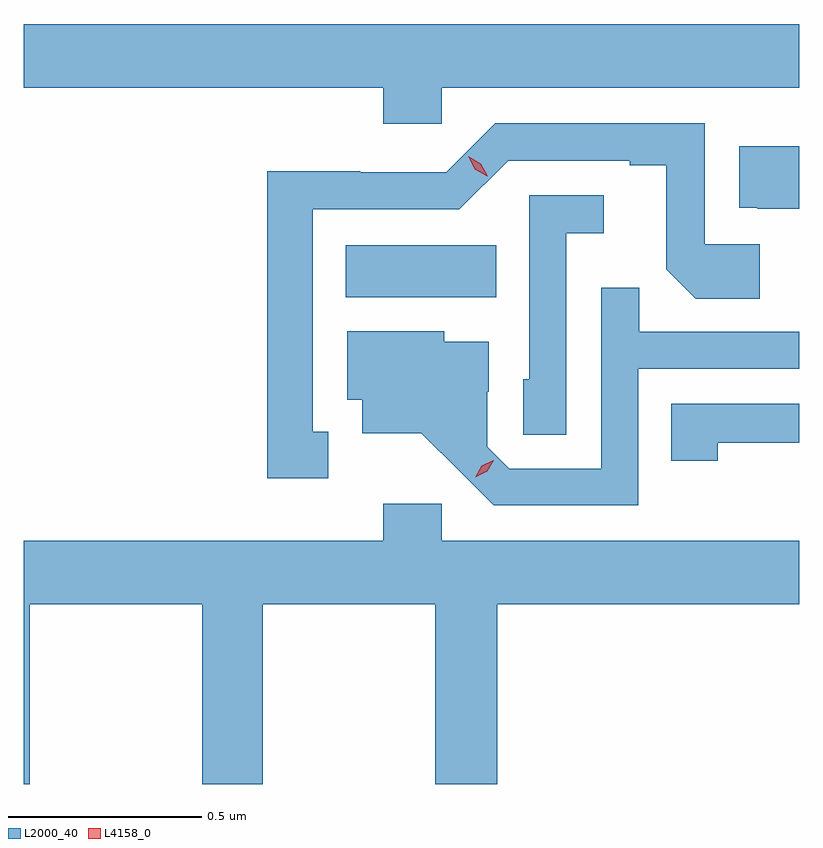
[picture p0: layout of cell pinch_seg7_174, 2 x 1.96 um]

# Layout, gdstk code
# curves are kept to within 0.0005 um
import gdstk
lib = gdstk.Library(unit=1e-6, precision=1e-09)
def R(c, l, rs):  # rectangles x0, y0, x1, y1
    for r in rs: c.add(gdstk.rectangle(r[:2], r[2:], *l))
def P(c, l, *ps):  # polygons
    for p in ps: c.add(gdstk.Polygon(p, *l))
L2000_40 = (2000, 40)
L4158_0 = (4158, 0)

pinch_seg7_174 = lib.new_cell('pinch_seg7_174')
R(pinch_seg7_174, L2000_40, [(1046.681,1034.708,1047.068,1034.842)])
P(pinch_seg7_174, L2000_40, [(1046.928,1035.248),(1047.85,1035.248),(1047.85,1035.412),(1045.85,1035.412),(1045.85,1035.248),(1046.777,1035.248),(1046.777,1035.155),(1046.928,1035.155)],
  [(1046.635,1034.361),(1046.596,1034.361),(1046.596,1034.934),(1046.973,1034.934),(1047.099,1035.06),(1047.413,1035.06),(1047.413,1035.048),(1047.507,1035.048),(1047.507,1034.78),(1047.583,1034.704),(1047.748,1034.704),(1047.748,1034.844),(1047.606,1034.844),(1047.606,1035.156),(1047.066,1035.156),(1046.94,1035.03),(1046.718,1035.03),(1046.718,1035.032),(1046.478,1035.032),(1046.478,1034.241),(1046.635,1034.241)],
  [(1047.85,1035.097),(1047.695,1035.097),(1047.695,1034.939),(1047.739,1034.939),(1047.742,1034.936),(1047.85,1034.936)],
  [(1047.249,1034.873),(1047.346,1034.873),(1047.346,1034.97),(1047.153,1034.97),(1047.153,1034.496),(1047.138,1034.496),(1047.138,1034.353),(1047.249,1034.353)],
  [(1047.435,1034.523),(1047.85,1034.523),(1047.85,1034.619),(1047.437,1034.619),(1047.437,1034.732),(1047.339,1034.732),(1047.339,1034.265),(1047.102,1034.265),(1047.045,1034.322),(1047.045,1034.464),(1047.049,1034.464),(1047.049,1034.593),(1046.934,1034.593),(1046.934,1034.62),(1046.684,1034.62),(1046.684,1034.444),(1046.723,1034.444),(1046.723,1034.357),(1046.875,1034.357),(1047.062,1034.172),(1047.435,1034.172)],
  [(1047.639,1034.332),(1047.85,1034.332),(1047.85,1034.433),(1047.52,1034.433),(1047.52,1034.286),(1047.639,1034.286)],
  [(1045.866,1033.916),(1046.311,1033.916),(1046.311,1033.453),(1046.466,1033.453),(1046.466,1033.916),(1046.911,1033.916),(1046.911,1033.453),(1047.071,1033.453),(1047.071,1033.916),(1047.85,1033.916),(1047.85,1034.08),(1046.928,1034.08),(1046.928,1034.176),(1046.777,1034.176),(1046.777,1034.08),(1045.85,1034.08),(1045.85,1033.453),(1045.866,1033.453)])
P(pinch_seg7_174, L4158_0, [(1047.014,1034.244),(1047.014,1034.244),(1047.031,1034.273),(1047.061,1034.288),(1047.062,1034.288),(1047.062,1034.288),(1047.045,1034.259),(1047.014,1034.244)],
  [(1047.045,1035.02),(1047.013,1035.038),(1046.996,1035.071),(1046.996,1035.071),(1046.996,1035.071),(1047.028,1035.052),(1047.046,1035.02),(1047.046,1035.02)])

lib.write_gds('pinch_seg7_174.gds')
